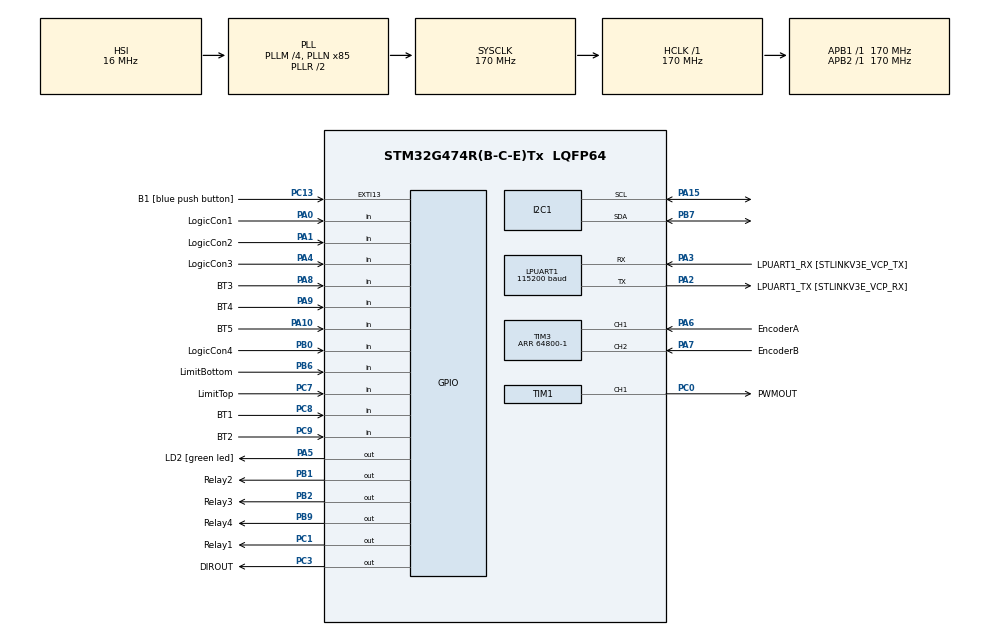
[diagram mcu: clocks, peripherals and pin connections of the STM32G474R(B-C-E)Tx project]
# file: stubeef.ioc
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ARM.CMSIS-DSP.1.15.0.CMSISJjDSP=Source
ARM.CMSIS.6.0.0.CMSISJjCORE=true
I2C1.Timing=0x30A0A7FB
LPUART1.BaudRate=115200
LPUART1.WordLength=UART_WORDLENGTH_8B
Mcu.Family=STM32G4
Mcu.Name=STM32G474R(B-C-E)Tx
Mcu.Package=LQFP64
NVIC.EXTI15_10_IRQn=true\:0\:0\:false\:false\:true\:true\:true\:true
NVIC.PriorityGroup=NVIC_PRIORITYGROUP_4
NVIC.TIM3_IRQn=true\:0\:0\:false\:false\:true\:true\:true\:true
NVIC.TIM5_IRQn=true\:0\:0\:false\:false\:true\:true\:true\:true
PA0.GPIO_Label=LogicCon1
PA0.GPIO_PuPd=GPIO_PULLUP
PA0.Signal=GPIO_Input
PA1.GPIO_Label=LogicCon2
PA1.GPIO_PuPd=GPIO_PULLUP
PA1.Signal=GPIO_Input
PA10.GPIO_Label=BT5
PA10.GPIO_PuPd=GPIO_PULLUP
PA10.Signal=GPIO_Input
PA13.GPIO_Label=T_SWDIO
PA13.Mode=Trace_Asynchronous_SW
PA13.Signal=SYS_JTMS-SWDIO
PA14.GPIO_Label=T_SWCLK
PA14.Mode=Trace_Asynchronous_SW
PA14.Signal=SYS_JTCK-SWCLK
PA15.Mode=I2C
PA15.Signal=I2C1_SCL
PA2.GPIO_Label=LPUART1_TX [STLINKV3E_VCP_RX]
PA2.Mode=Asynchronous
PA2.Signal=LPUART1_TX
PA3.GPIO_Label=LPUART1_RX [STLINKV3E_VCP_TX]
PA3.Mode=Asynchronous
PA3.Signal=LPUART1_RX
PA4.GPIO_Label=LogicCon3
PA4.GPIO_PuPd=GPIO_PULLUP
PA4.Signal=GPIO_Input
PA5.GPIO_Label=LD2 [green led]
PA5.Signal=GPIO_Output
PA6.GPIO_Label=EncoderA
PA6.Signal=S_TIM3_CH1
PA7.GPIO_Label=EncoderB
PA7.Signal=S_TIM3_CH2
PA8.GPIO_Label=BT3
PA8.GPIO_PuPd=GPIO_PULLUP
PA8.Signal=GPIO_Input
PA9.GPIO_Label=BT4
PA9.GPIO_PuPd=GPIO_PULLUP
PA9.Signal=GPIO_Input
PB0.GPIO_Label=LogicCon4
PB0.GPIO_PuPd=GPIO_PULLUP
PB0.Signal=GPIO_Input
PB1.GPIO_Label=Relay2
PB1.Signal=GPIO_Output
PB2.GPIO_Label=Relay3
PB2.Signal=GPIO_Output
PB3.GPIO_Label=T_SWO
PB3.Mode=Trace_Asynchronous_SW
PB3.Signal=SYS_JTDO-SWO
PB6.GPIO_Label=LimitBottom
PB6.GPIO_PuPd=GPIO_PULLUP
PB6.Signal=GPIO_Input
PB7.Mode=I2C
PB7.Signal=I2C1_SDA
PB9.GPIO_Label=Relay4
PB9.Signal=GPIO_Output
PC0.GPIO_Label=PWMOUT
PC0.Signal=S_TIM1_CH1
PC1.GPIO_Label=Relay1
PC1.Signal=GPIO_Output
PC13.GPIO_Label=B1 [blue push button]
PC13.Signal=GPXTI13
PC14-OSC32_IN.Mode=LSE-External-Oscillator
PC14-OSC32_IN.Signal=RCC_OSC32_IN
PC15-OSC32_OUT.Mode=LSE-External-Oscillator
PC15-OSC32_OUT.Signal=RCC_OSC32_OUT
PC3.GPIO_Label=DIROUT
PC3.Signal=GPIO_Output
PC7.GPIO_Label=LimitTop
PC7.GPIO_PuPd=GPIO_PULLUP
PC7.Signal=GPIO_Input
PC8.GPIO_Label=BT1
PC8.GPIO_PuPd=GPIO_PULLUP
PC8.Signal=GPIO_Input
PC9.GPIO_Label=BT2
PC9.GPIO_PuPd=GPIO_PULLUP
PC9.Signal=GPIO_Input
PF0-OSC_IN.Mode=HSE-External-Oscillator
PF0-OSC_IN.Signal=RCC_OSC_IN
PF1-OSC_OUT.Mode=HSE-External-Oscillator
PF1-OSC_OUT.Signal=RCC_OSC_OUT
ProjectManager.HeapSize=0x200
ProjectManager.StackSize=0x400
ProjectManager.TargetToolchain=STM32CubeIDE
RCC.ADC12Freq_Value=170000000
RCC.ADC345Freq_Value=170000000
RCC.AHBFreq_Value=170000000
RCC.APB1Freq_Value=170000000
RCC.APB1TimFreq_Value=170000000
RCC.APB2Freq_Value=170000000
RCC.APB2TimFreq_Value=170000000
RCC.CortexFreq_Value=170000000
RCC.EXTERNAL_CLOCK_VALUE=12288000
RCC.HCLKFreq_Value=170000000
RCC.HSE_VALUE=24000000
RCC.HSI48_VALUE=48000000
RCC.HSI_VALUE=16000000
RCC.PLLM=RCC_PLLM_DIV4
RCC.PLLN=85
RCC.RTCClockSelection=RCC_RTCCLKSOURCE_LSE
RCC.SYSCLKFreq_VALUE=170000000
RCC.SYSCLKSource=RCC_SYSCLKSOURCE_PLLCLK
RCC.USBFreq_Value=170000000
RCC.VCOOutputFreq_Value=340000000
SH.S_TIM1_CH1.0=TIM1_CH1,PWM Generation1 CH1
SH.S_TIM3_CH1.0=TIM3_CH1,Encoder_Interface
SH.S_TIM3_CH2.0=TIM3_CH2,Encoder_Interface
TIM1.Channel-PWM\ Generation1\ CH1=TIM_CHANNEL_1
TIM1.PeriodNoDither=4000
TIM1.Prescaler=170-1
TIM3.EncoderMode=TIM_ENCODERMODE_TI12
TIM3.PeriodNoDither=64800-1
TIM5.Prescaler=170-1
VP_ARM.CMSIS-DSP_VS_CMSISJjDSP_1.15.0_1.15.0.Mode=CMSISJjDSP
VP_ARM.CMSIS_VS_CMSISJjCORE_6.0.0_6.0.0.Mode=CMSISJjCORE
VP_SYS_VS_DBSignals.Mode=DisableDeadBatterySignals
VP_TIM2_VS_ClockSourceINT.Mode=Internal
VP_TIM5_VS_ClockSourceINT.Mode=Internal
board=NUCLEO-G474RE

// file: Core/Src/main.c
/* USER CODE BEGIN Header */
/**
 ******************************************************************************
 * @file           : main.c
 * @brief          : Main program body
 ******************************************************************************
 * @attention
 *
 * Copyright (c) 2024 STMicroelectronics.
 * All rights reserved.
 *
 * This software is licensed under terms that can be found in the LICENSE file
 * in the root directory of this software component.
 * If no LICENSE file comes with this software, it is provided AS-IS.
 *
 ******************************************************************************
 */
/* USER CODE END Header */
#include "main.h"

/* USER CODE BEGIN Includes */
#include "arm_math.h"
#include "pid.h"
/* USER CODE END Includes */

I2C_HandleTypeDef hi2c1;

UART_HandleTypeDef hlpuart1;

TIM_HandleTypeDef htim1;
TIM_HandleTypeDef htim2;
TIM_HandleTypeDef htim3;
TIM_HandleTypeDef htim5;

/* USER CODE BEGIN PV */
uint16_t timerange = 200;
uint64_t upper = 0;
uint64_t read = 0;
float linearspeed = 0;
uint8_t relay[4];

uint32_t QEIReadRaw;
float velodegree;

typedef struct {
// for record New / Old value to calculate dx / dt
	uint32_t Position[2];
	uint64_t TimeStamp[2];
	float QEIPostion_1turn[2];
	float QEIAngularVelocity;
	float Angle;
	float TotalPos;
	float QEIRound;

} QEI_StructureTypeDef;

QEI_StructureTypeDef QEIdata = { 0 };
uint64_t _micros = 0;

enum {
	NEW, OLD
};

//motor
uint16_t duty_cycle = 1000;

//LogicConv
uint8_t Lo1 = 0; // foreward leedswitch
uint8_t Lo2 = 0;// backward
uint8_t Lo3 = 0; //joy vs pid
uint8_t Lo4 = 0; //emer

//Botton
uint8_t bt1 = 0;
uint8_t bt2 = 0;
uint8_t bt3 = 0;
uint8_t bt4 = 0;
uint8_t bt5 = 0;

//Limit
uint8_t LimitTop = 0;
uint8_t LimitBottom = 0;
uint8_t x = 0;
//RelayWrite

//PID
uint8_t mode = 2;
float Vfeedback;
float Goal = 0;
uint16_t duty_cycle_pid;
PID pid_control;
uint8_t test_change = 1;
uint8_t test_change_prev = 0;
float pid_p = 0.5;
float pid_i = 5.5e-3;
float pid_d = 3.5e-6;

/* USER CODE END PV */

void SystemClock_Config(void);
static void MX_GPIO_Init(void);
static void MX_LPUART1_UART_Init(void);
static void MX_I2C1_Init(void);
static void MX_TIM1_Init(void);
static void MX_TIM3_Init(void);
static void MX_TIM2_Init(void);
static void MX_TIM5_Init(void);
/* USER CODE BEGIN PFP */
uint64_t Micros();
void QEIEncoderPosVel_Update();
void ReadLogicConv();
void ReadButton();
void ReadLimit();
void WritePins();
void MotorDrive();
void RelayDrive();
/* USER CODE END PFP */

int main(void)
{

  /* MCU Configuration--------------------------------------------------------*/

  /* Reset of all peripherals, Initializes the Flash interface and the Systick. */
  HAL_Init();

  /* Configure the system clock */
  SystemClock_Config();

  /* Initialize all configured peripherals */
  MX_GPIO_Init();
  MX_LPUART1_UART_Init();
  MX_I2C1_Init();
  MX_TIM1_Init();
  MX_TIM3_Init();
  MX_TIM2_Init();
  MX_TIM5_Init();
  /* USER CODE BEGIN 2 */
//  HAL_TIM_Base_Start(&htim4);
//  HAL_TIM_PWM_Start(&htim4, TIM_CHANNEL_1);
//  HAL_TIM_PWM_Start(&htim4, TIM_CHANNEL_2);
//
//  __HAL_TIM_SET_COMPARE(&htim4, TIM_CHANNEL_1, 0);
//  __HAL_TIM_SET_COMPARE(&htim4, TIM_CHANNEL_2, 500);
//pwm setup
	HAL_TIM_Base_Start(&htim1);
	HAL_TIM_PWM_Start(&htim1, TIM_CHANNEL_1);
	__HAL_TIM_SET_COMPARE(&htim1, TIM_CHANNEL_1, 0);

	HAL_TIM_Encoder_Start(&htim3, TIM_CHANNEL_ALL);
	HAL_TIM_Base_Start_IT(&htim5);
	upper = 0;

	PID_init(&pid_control, pid_p, pid_i, pid_d ,timerange);

  /* USER CODE END 2 */

  /* Infinite loop */
	while (1) {

    /* USER CODE BEGIN 3 */

		//Call every 0.1 s
		static uint64_t timestamp = 0;
		int64_t currentTime = Micros();
		ReadLimit();
		if (currentTime > timestamp) {
			timestamp = currentTime + timerange;	 //us
			QEIEncoderPosVel_Update();

			velodegree = QEIdata.QEIAngularVelocity;
			velodegree = (velodegree * 60) / 800;
			linearspeed = velodegree * 14 / 60.0;

			if (mode == 1) {
				if (bt3 == 0) {
					HAL_GPIO_WritePin(GPIOC, GPIO_PIN_3, 1);
					__HAL_TIM_SET_COMPARE(&htim1, TIM_CHANNEL_1, duty_cycle);
				} else if (bt2 == 0) {
					HAL_GPIO_WritePin(GPIOC, GPIO_PIN_3, 0);
					__HAL_TIM_SET_COMPARE(&htim1, TIM_CHANNEL_1, duty_cycle);
				} else {
					__HAL_TIM_SET_COMPARE(&htim1, TIM_CHANNEL_1, 0);
				}
			} else if (mode == 2) {
				//if(bt3 == 0){
					MotorDrive();
					//Goal = 600;
				//}
			}

		}
		RelayDrive();
		ReadButton();
		ReadLogicConv();

	}
  /* USER CODE END 3 */
}

void SystemClock_Config(void)
{
  RCC_OscInitTypeDef RCC_OscInitStruct = {0};
  RCC_ClkInitTypeDef RCC_ClkInitStruct = {0};

  /** Configure the main internal regulator output voltage
  */
  HAL_PWREx_ControlVoltageScaling(PWR_REGULATOR_VOLTAGE_SCALE1_BOOST);

  /** Initializes the RCC Oscillators according to the specified parameters
  * in the RCC_OscInitTypeDef structure.
  */
  RCC_OscInitStruct.OscillatorType = RCC_OSCILLATORTYPE_HSI;
  RCC_OscInitStruct.HSIState = RCC_HSI_ON;
  RCC_OscInitStruct.HSICalibrationValue = RCC_HSICALIBRATION_DEFAULT;
  RCC_OscInitStruct.PLL.PLLState = RCC_PLL_ON;
  RCC_OscInitStruct.PLL.PLLSource = RCC_PLLSOURCE_HSI;
  RCC_OscInitStruct.PLL.PLLM = RCC_PLLM_DIV4;
  RCC_OscInitStruct.PLL.PLLN = 85;
  RCC_OscInitStruct.PLL.PLLP = RCC_PLLP_DIV2;
  RCC_OscInitStruct.PLL.PLLQ = RCC_PLLQ_DIV2;
  RCC_OscInitStruct.PLL.PLLR = RCC_PLLR_DIV2;
  if (HAL_RCC_OscConfig(&RCC_OscInitStruct) != HAL_OK)
  {
    Error_Handler();
  }

  /** Initializes the CPU, AHB and APB buses clocks
  */
  RCC_ClkInitStruct.ClockType = RCC_CLOCKTYPE_HCLK|RCC_CLOCKTYPE_SYSCLK
                              |RCC_CLOCKTYPE_PCLK1|RCC_CLOCKTYPE_PCLK2;
  RCC_ClkInitStruct.SYSCLKSource = RCC_SYSCLKSOURCE_PLLCLK;
  RCC_ClkInitStruct.AHBCLKDivider = RCC_SYSCLK_DIV1;
  RCC_ClkInitStruct.APB1CLKDivider = RCC_HCLK_DIV1;
  RCC_ClkInitStruct.APB2CLKDivider = RCC_HCLK_DIV1;

  if (HAL_RCC_ClockConfig(&RCC_ClkInitStruct, FLASH_LATENCY_4) != HAL_OK)
  {
    Error_Handler();
  }
}

static void MX_I2C1_Init(void)
{

  hi2c1.Instance = I2C1;
  hi2c1.Init.Timing = 0x30A0A7FB;
  hi2c1.Init.OwnAddress1 = 0;
  hi2c1.Init.AddressingMode = I2C_ADDRESSINGMODE_7BIT;
  hi2c1.Init.DualAddressMode = I2C_DUALADDRESS_DISABLE;
  hi2c1.Init.OwnAddress2 = 0;
  hi2c1.Init.OwnAddress2Masks = I2C_OA2_NOMASK;
  hi2c1.Init.GeneralCallMode = I2C_GENERALCALL_DISABLE;
  hi2c1.Init.NoStretchMode = I2C_NOSTRETCH_DISABLE;
  if (HAL_I2C_Init(&hi2c1) != HAL_OK)
  {
    Error_Handler();
  }

  /** Configure Analogue filter
  */
  if (HAL_I2CEx_ConfigAnalogFilter(&hi2c1, I2C_ANALOGFILTER_ENABLE) != HAL_OK)
  {
    Error_Handler();
  }

  /** Configure Digital filter
  */
  if (HAL_I2CEx_ConfigDigitalFilter(&hi2c1, 0) != HAL_OK)
  {
    Error_Handler();
  }

}

static void MX_LPUART1_UART_Init(void)
{

  hlpuart1.Instance = LPUART1;
  hlpuart1.Init.BaudRate = 115200;
  hlpuart1.Init.WordLength = UART_WORDLENGTH_8B;
  hlpuart1.Init.StopBits = UART_STOPBITS_1;
  hlpuart1.Init.Parity = UART_PARITY_NONE;
  hlpuart1.Init.Mode = UART_MODE_TX_RX;
  hlpuart1.Init.HwFlowCtl = UART_HWCONTROL_NONE;
  hlpuart1.Init.OneBitSampling = UART_ONE_BIT_SAMPLE_DISABLE;
  hlpuart1.Init.ClockPrescaler = UART_PRESCALER_DIV1;
  hlpuart1.AdvancedInit.AdvFeatureInit = UART_ADVFEATURE_NO_INIT;
  if (HAL_UART_Init(&hlpuart1) != HAL_OK)
  {
    Error_Handler();
  }
  if (HAL_UARTEx_SetTxFifoThreshold(&hlpuart1, UART_TXFIFO_THRESHOLD_1_8) != HAL_OK)
  {
    Error_Handler();
  }
  if (HAL_UARTEx_SetRxFifoThreshold(&hlpuart1, UART_RXFIFO_THRESHOLD_1_8) != HAL_OK)
  {
    Error_Handler();
  }
  if (HAL_UARTEx_DisableFifoMode(&hlpuart1) != HAL_OK)
  {
    Error_Handler();
  }

}

static void MX_TIM1_Init(void)
{

  TIM_MasterConfigTypeDef sMasterConfig = {0};
  TIM_OC_InitTypeDef sConfigOC = {0};
  TIM_BreakDeadTimeConfigTypeDef sBreakDeadTimeConfig = {0};

  htim1.Instance = TIM1;
  htim1.Init.Prescaler = 170-1;
  htim1.Init.CounterMode = TIM_COUNTERMODE_UP;
  htim1.Init.Period = 4000;
  htim1.Init.ClockDivision = TIM_CLOCKDIVISION_DIV1;
  htim1.Init.RepetitionCounter = 0;
  htim1.Init.AutoReloadPreload = TIM_AUTORELOAD_PRELOAD_DISABLE;
  if (HAL_TIM_PWM_Init(&htim1) != HAL_OK)
  {
    Error_Handler();
  }
  sMasterConfig.MasterOutputTrigger = TIM_TRGO_RESET;
  sMasterConfig.MasterOutputTrigger2 = TIM_TRGO2_RESET;
  sMasterConfig.MasterSlaveMode = TIM_MASTERSLAVEMODE_DISABLE;
  if (HAL_TIMEx_MasterConfigSynchronization(&htim1, &sMasterConfig) != HAL_OK)
  {
    Error_Handler();
  }
  sConfigOC.OCMode = TIM_OCMODE_PWM1;
  sConfigOC.Pulse = 0;
  sConfigOC.OCPolarity = TIM_OCPOLARITY_HIGH;
  sConfigOC.OCNPolarity = TIM_OCNPOLARITY_HIGH;
  sConfigOC.OCFastMode = TIM_OCFAST_DISABLE;
  sConfigOC.OCIdleState = TIM_OCIDLESTATE_RESET;
  sConfigOC.OCNIdleState = TIM_OCNIDLESTATE_RESET;
  if (HAL_TIM_PWM_ConfigChannel(&htim1, &sConfigOC, TIM_CHANNEL_1) != HAL_OK)
  {
    Error_Handler();
  }
  sBreakDeadTimeConfig.OffStateRunMode = TIM_OSSR_DISABLE;
  sBreakDeadTimeConfig.OffStateIDLEMode = TIM_OSSI_DISABLE;
  sBreakDeadTimeConfig.LockLevel = TIM_LOCKLEVEL_OFF;
  sBreakDeadTimeConfig.DeadTime = 0;
  sBreakDeadTimeConfig.BreakState = TIM_BREAK_DISABLE;
  sBreakDeadTimeConfig.BreakPolarity = TIM_BREAKPOLARITY_HIGH;
  sBreakDeadTimeConfig.BreakFilter = 0;
  sBreakDeadTimeConfig.BreakAFMode = TIM_BREAK_AFMODE_INPUT;
  sBreakDeadTimeConfig.Break2State = TIM_BREAK2_DISABLE;
  sBreakDeadTimeConfig.Break2Polarity = TIM_BREAK2POLARITY_HIGH;
  sBreakDeadTimeConfig.Break2Filter = 0;
  sBreakDeadTimeConfig.Break2AFMode = TIM_BREAK_AFMODE_INPUT;
  sBreakDeadTimeConfig.AutomaticOutput = TIM_AUTOMATICOUTPUT_DISABLE;
  if (HAL_TIMEx_ConfigBreakDeadTime(&htim1, &sBreakDeadTimeConfig) != HAL_OK)
  {
    Error_Handler();
  }
  HAL_TIM_MspPostInit(&htim1);

}

static void MX_TIM2_Init(void)
{

  TIM_ClockConfigTypeDef sClockSourceConfig = {0};
  TIM_MasterConfigTypeDef sMasterConfig = {0};

  htim2.Instance = TIM2;
  htim2.Init.Prescaler = 0;
  htim2.Init.CounterMode = TIM_COUNTERMODE_UP;
  htim2.Init.Period = 4294967295;
  htim2.Init.ClockDivision = TIM_CLOCKDIVISION_DIV1;
  htim2.Init.AutoReloadPreload = TIM_AUTORELOAD_PRELOAD_DISABLE;
  if (HAL_TIM_Base_Init(&htim2) != HAL_OK)
  {
    Error_Handler();
  }
  sClockSourceConfig.ClockSource = TIM_CLOCKSOURCE_INTERNAL;
  if (HAL_TIM_ConfigClockSource(&htim2, &sClockSourceConfig) != HAL_OK)
  {
    Error_Handler();
  }
  sMasterConfig.MasterOutputTrigger = TIM_TRGO_RESET;
  sMasterConfig.MasterSlaveMode = TIM_MASTERSLAVEMODE_DISABLE;
  if (HAL_TIMEx_MasterConfigSynchronization(&htim2, &sMasterConfig) != HAL_OK)
  {
    Error_Handler();
  }

}

static void MX_TIM3_Init(void)
{

  TIM_Encoder_InitTypeDef sConfig = {0};
  TIM_MasterConfigTypeDef sMasterConfig = {0};

  htim3.Instance = TIM3;
  htim3.Init.Prescaler = 0;
  htim3.Init.CounterMode = TIM_COUNTERMODE_UP;
  htim3.Init.Period = 64799;
  htim3.Init.ClockDivision = TIM_CLOCKDIVISION_DIV1;
  htim3.Init.AutoReloadPreload = TIM_AUTORELOAD_PRELOAD_DISABLE;
  sConfig.EncoderMode = TIM_ENCODERMODE_TI12;
  sConfig.IC1Polarity = TIM_ICPOLARITY_RISING;
  sConfig.IC1Selection = TIM_ICSELECTION_DIRECTTI;
  sConfig.IC1Prescaler = TIM_ICPSC_DIV1;
  sConfig.IC1Filter = 0;
  sConfig.IC2Polarity = TIM_ICPOLARITY_RISING;
  sConfig.IC2Selection = TIM_ICSELECTION_DIRECTTI;
  sConfig.IC2Prescaler = TIM_ICPSC_DIV1;
  sConfig.IC2Filter = 0;
  if (HAL_TIM_Encoder_Init(&htim3, &sConfig) != HAL_OK)
  {
    Error_Handler();
  }
  sMasterConfig.MasterOutputTrigger = TIM_TRGO_RESET;
  sMasterConfig.MasterSlaveMode = TIM_MASTERSLAVEMODE_DISABLE;
  if (HAL_TIMEx_MasterConfigSynchronization(&htim3, &sMasterConfig) != HAL_OK)
  {
    Error_Handler();
  }

}

static void MX_TIM5_Init(void)
{

  TIM_ClockConfigTypeDef sClockSourceConfig = {0};
  TIM_MasterConfigTypeDef sMasterConfig = {0};

  htim5.Instance = TIM5;
  htim5.Init.Prescaler = 170-1;
  htim5.Init.CounterMode = TIM_COUNTERMODE_UP;
  htim5.Init.Period = 4294967295;
  htim5.Init.ClockDivision = TIM_CLOCKDIVISION_DIV1;
  htim5.Init.AutoReloadPreload = TIM_AUTORELOAD_PRELOAD_DISABLE;
  if (HAL_TIM_Base_Init(&htim5) != HAL_OK)
  {
    Error_Handler();
  }
  sClockSourceConfig.ClockSource = TIM_CLOCKSOURCE_INTERNAL;
  if (HAL_TIM_ConfigClockSource(&htim5, &sClockSourceConfig) != HAL_OK)
  {
    Error_Handler();
  }
  sMasterConfig.MasterOutputTrigger = TIM_TRGO_RESET;
  sMasterConfig.MasterSlaveMode = TIM_MASTERSLAVEMODE_DISABLE;
  if (HAL_TIMEx_MasterConfigSynchronization(&htim5, &sMasterConfig) != HAL_OK)
  {
    Error_Handler();
  }

}

static void MX_GPIO_Init(void)
{
  GPIO_InitTypeDef GPIO_InitStruct = {0};

  /* GPIO Ports Clock Enable */
  __HAL_RCC_GPIOC_CLK_ENABLE();
  __HAL_RCC_GPIOF_CLK_ENABLE();
  __HAL_RCC_GPIOA_CLK_ENABLE();
  __HAL_RCC_GPIOB_CLK_ENABLE();

  /*Configure GPIO pin Output Level */
  HAL_GPIO_WritePin(GPIOC, Relay1_Pin|DIROUT_Pin, GPIO_PIN_RESET);

  /*Configure GPIO pin Output Level */
  HAL_GPIO_WritePin(LD2_GPIO_Port, LD2_Pin, GPIO_PIN_RESET);

  /*Configure GPIO pin Output Level */
  HAL_GPIO_WritePin(GPIOB, Relay2_Pin|Relay3_Pin|Relay4_Pin, GPIO_PIN_RESET);

  /*Configure GPIO pin : B1_Pin */
  GPIO_InitStruct.Pin = B1_Pin;
  GPIO_InitStruct.Mode = GPIO_MODE_IT_RISING;
  GPIO_InitStruct.Pull = GPIO_NOPULL;
  HAL_GPIO_Init(B1_GPIO_Port, &GPIO_InitStruct);

  /*Configure GPIO pins : Relay1_Pin DIROUT_Pin */
  GPIO_InitStruct.Pin = Relay1_Pin|DIROUT_Pin;
  GPIO_InitStruct.Mode = GPIO_MODE_OUTPUT_PP;
  GPIO_InitStruct.Pull = GPIO_NOPULL;
  GPIO_InitStruct.Speed = GPIO_SPEED_FREQ_LOW;
  HAL_GPIO_Init(GPIOC, &GPIO_InitStruct);

  /*Configure GPIO pins : LogicCon1_Pin LogicCon2_Pin LogicCon3_Pin BT3_Pin
                           BT4_Pin BT5_Pin */
  GPIO_InitStruct.Pin = LogicCon1_Pin|LogicCon2_Pin|LogicCon3_Pin|BT3_Pin
                          |BT4_Pin|BT5_Pin;
  GPIO_InitStruct.Mode = GPIO_MODE_INPUT;
  GPIO_InitStruct.Pull = GPIO_PULLUP;
  HAL_GPIO_Init(GPIOA, &GPIO_InitStruct);

  /*Configure GPIO pin : LD2_Pin */
  GPIO_InitStruct.Pin = LD2_Pin;
  GPIO_InitStruct.Mode = GPIO_MODE_OUTPUT_PP;
  GPIO_InitStruct.Pull = GPIO_NOPULL;
  GPIO_InitStruct.Speed = GPIO_SPEED_FREQ_LOW;
  HAL_GPIO_Init(LD2_GPIO_Port, &GPIO_InitStruct);

  /*Configure GPIO pins : LogicCon4_Pin LimitBottom_Pin */
  GPIO_InitStruct.Pin = LogicCon4_Pin|LimitBottom_Pin;
  GPIO_InitStruct.Mode = GPIO_MODE_INPUT;
  GPIO_InitStruct.Pull = GPIO_PULLUP;
  HAL_GPIO_Init(GPIOB, &GPIO_InitStruct);

  /*Configure GPIO pins : Relay2_Pin Relay3_Pin Relay4_Pin */
  GPIO_InitStruct.Pin = Relay2_Pin|Relay3_Pin|Relay4_Pin;
  GPIO_InitStruct.Mode = GPIO_MODE_OUTPUT_PP;
  GPIO_InitStruct.Pull = GPIO_NOPULL;
  GPIO_InitStruct.Speed = GPIO_SPEED_FREQ_LOW;
  HAL_GPIO_Init(GPIOB, &GPIO_InitStruct);

  /*Configure GPIO pins : LimitTop_Pin BT1_Pin BT2_Pin */
  GPIO_InitStruct.Pin = LimitTop_Pin|BT1_Pin|BT2_Pin;
  GPIO_InitStruct.Mode = GPIO_MODE_INPUT;
  GPIO_InitStruct.Pull = GPIO_PULLUP;
  HAL_GPIO_Init(GPIOC, &GPIO_InitStruct);

  /* EXTI interrupt init*/
  HAL_NVIC_SetPriority(EXTI15_10_IRQn, 0, 0);
  HAL_NVIC_EnableIRQ(EXTI15_10_IRQn);

}

/* USER CODE BEGIN 4 */
void HAL_TIM_PeriodElapsedCallback(TIM_HandleTypeDef *htim) {
	if (htim == &htim5) {
		upper += 1;
		HAL_GPIO_TogglePin(GPIOA, GPIO_PIN_5);
	}
}

uint64_t Micros() {
//	static uint32_t timestamp = 0;
	uint32_t lower = 0;
	uint64_t time = 0;
	lower = __HAL_TIM_GET_COUNTER(&htim5);
	time = (upper << 32) | lower;
	return time;
}

void QEIEncoderPosVel_Update() {
	//collect data
	QEIdata.TimeStamp[NEW] = Micros();
	QEIdata.Position[NEW] = __HAL_TIM_GET_COUNTER(&htim3);
	//Position 1 turn calculation
	QEIdata.QEIPostion_1turn[NEW] = QEIdata.Position[NEW] % 800;
	QEIdata.Angle = QEIdata.QEIPostion_1turn[NEW] * 360 / 800;
	//calculate dx
	int32_t diffPosition = QEIdata.Position[NEW] - QEIdata.Position[OLD];
	int32_t diff1turn = QEIdata.QEIPostion_1turn[NEW] - QEIdata.QEIPostion_1turn[OLD];
	//Handle Warp around
	if (diffPosition > 32400) {
		diffPosition -= 64800;
	}
	if (diffPosition < -32400) {
		diffPosition += 64800;
	}
	//Calculate Linear Position in mm unit
	if (diff1turn > 400) {
		QEIdata.QEIRound -= 1;
	}
	if (diff1turn < -400) {
		QEIdata.QEIRound += 1;
	}
	QEIdata.TotalPos = (QEIdata.QEIRound * 14) + QEIdata.QEIPostion_1turn[NEW] * 14 / 800; //linear pos in mm uint

			//calculate dt
	float diffTime = (QEIdata.TimeStamp[NEW] - QEIdata.TimeStamp[OLD])
			* 1e-6;
	//calculate angular velocity
	QEIdata.QEIAngularVelocity = diffPosition / diffTime;
	//store value for next loop
	QEIdata.Position[OLD] = QEIdata.Position[NEW];
	QEIdata.TimeStamp[OLD] = QEIdata.TimeStamp[NEW];
	QEIdata.QEIPostion_1turn[OLD] = QEIdata.QEIPostion_1turn[NEW];

}

void ReadLogicConv() {
	Lo1 = HAL_GPIO_ReadPin(GPIOA, GPIO_PIN_0); //Lo1
	Lo2 = HAL_GPIO_ReadPin(GPIOA, GPIO_PIN_1); //Lo2
	Lo3 = HAL_GPIO_ReadPin(GPIOA, GPIO_PIN_4); //Lo3
	Lo4 = HAL_GPIO_ReadPin(GPIOB, GPIO_PIN_0); //Lo4
}

void ReadButton() {
	bt1 = HAL_GPIO_ReadPin(GPIOC, GPIO_PIN_8); //BT1
	bt2 = HAL_GPIO_ReadPin(GPIOC, GPIO_PIN_9); //BT2
	bt3 = HAL_GPIO_ReadPin(GPIOA, GPIO_PIN_8); //BT3
	bt4 = HAL_GPIO_ReadPin(GPIOA, GPIO_PIN_9); //BT4
	bt5 = HAL_GPIO_ReadPin(GPIOA, GPIO_PIN_10); //BT5
}

void ReadLimit() {
	LimitTop = HAL_GPIO_ReadPin(GPIOC, GPIO_PIN_7); // LimitTop
	LimitBottom = HAL_GPIO_ReadPin(GPIOB, GPIO_PIN_6); // LimitBottom

}

void MotorDrive() {
	PercentDis = fabs(Goal - QEIdata.TotalPos) * 100 / Goal;
	if((Goal - QEIdata.TotalPos) > 0.2 || (Goal - QEIdata.TotalPos) < -0.2){
		if( PercentDis <= 20 || PercentDis >= 80){
			Vfeedback = Update_pid(&pid_control, Goal - QEIdata.TotalPos, 5, 3);
		}else if( PercentDis > 20 && PercentDis < 80){
			Vfeedback = Update_pid(&pid_control, Goal - QEIdata.TotalPos, 8, 10);
		}

		if (Vfeedback > 0) {
			HAL_GPIO_WritePin(GPIOC, GPIO_PIN_3, 0);
		} else {
			HAL_GPIO_WritePin(GPIOC, GPIO_PIN_3, 1);
			Vfeedback = Vfeedback * (-1);
		}

		if(Vfeedback < 1.5 && Vfeedback != 0){
			Vfeedback = 1.5;
		}
		duty_cycle_pid = Vfeedback * 4000 / 12;

		__HAL_TIM_SET_COMPARE(&htim1, TIM_CHANNEL_1, duty_cycle_pid);
	}else{

	}
}

void RelayDrive() {
	HAL_GPIO_WritePin(GPIOC, GPIO_PIN_1, relay[0]); //
	HAL_GPIO_WritePin(GPIOB, GPIO_PIN_1, relay[1]); // Relay1
	HAL_GPIO_WritePin(GPIOB, GPIO_PIN_2, relay[2]); // Mode status led
	HAL_GPIO_WritePin(GPIOB, GPIO_PIN_9, relay[3]); // Heart beat
}
/* USER CODE END 4 */

void Error_Handler(void)
{
	__disable_irq();
	while (1) {
	}
}
